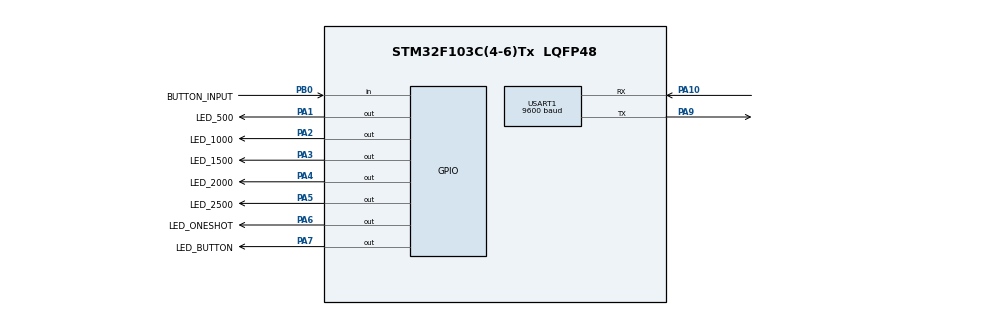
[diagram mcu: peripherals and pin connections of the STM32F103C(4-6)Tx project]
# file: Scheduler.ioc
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Mcu.Family=STM32F1
Mcu.Name=STM32F103C(4-6)Tx
Mcu.Package=LQFP48
NVIC.PriorityGroup=NVIC_PRIORITYGROUP_4
NVIC.TIM2_IRQn=true\:0\:0\:false\:false\:true\:true\:true
NVIC.USART1_IRQn=true\:0\:0\:false\:false\:true\:true\:true
PA1.GPIO_Label=LED_500
PA1.Signal=GPIO_Output
PA10.Mode=Asynchronous
PA10.Signal=USART1_RX
PA13.Mode=Serial_Wire
PA13.Signal=SYS_JTMS-SWDIO
PA14.Mode=Serial_Wire
PA14.Signal=SYS_JTCK-SWCLK
PA2.GPIO_Label=LED_1000
PA2.Signal=GPIO_Output
PA3.GPIO_Label=LED_1500
PA3.Signal=GPIO_Output
PA4.GPIO_Label=LED_2000
PA4.Signal=GPIO_Output
PA5.GPIO_Label=LED_2500
PA5.Signal=GPIO_Output
PA6.GPIO_Label=LED_ONESHOT
PA6.Signal=GPIO_Output
PA7.GPIO_Label=LED_BUTTON
PA7.Signal=GPIO_Output
PA9.Mode=Asynchronous
PA9.Signal=USART1_TX
PB0.GPIO_Label=BUTTON_INPUT
PB0.GPIO_PuPd=GPIO_PULLUP
PB0.Signal=GPIO_Input
ProjectManager.HeapSize=0x200
ProjectManager.StackSize=0x400
ProjectManager.TargetToolchain=STM32CubeIDE
RCC.APB1Freq_Value=8000000
RCC.APB2Freq_Value=8000000
TIM2.Period=2
TIM2.Prescaler=39999
USART1.BaudRate=9600
USART1.VirtualMode=VM_ASYNC
VP_TIM2_VS_ClockSourceINT.Mode=Internal
board=custom

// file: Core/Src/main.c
/* USER CODE BEGIN Header */
/**
  ******************************************************************************
  * @file           : main.c
  * @brief          : Main program body
  ******************************************************************************
  * @attention
  *
  * <h2><center>&copy; Copyright (c) 2023 STMicroelectronics.
  * All rights reserved.</center></h2>
  *
  * This software component is licensed by ST under BSD 3-Clause license,
  * the "License"; You may not use this file except in compliance with the
  * License. You may obtain a copy of the License at:
  *                        opensource.org/licenses/BSD-3-Clause
  *
  ******************************************************************************
  */
/* USER CODE END Header */
#include "main.h"

/* USER CODE BEGIN Includes */

#include "scheduler.h"
/* USER CODE END Includes */

TIM_HandleTypeDef htim2;

UART_HandleTypeDef huart1;

void SystemClock_Config(void);
static void MX_GPIO_Init(void);
static void MX_TIM2_Init(void);
static void MX_USART1_UART_Init(void);
/* USER CODE BEGIN PFP */
#ifdef __GNUC__
#define PUTCHAR_PROTOTYPE int __io_putchar(int ch)
#else
#define PUTCHAR_PROTOTYPE int fputc(int ch, FILE *f)
#endif

PUTCHAR_PROTOTYPE
{
  HAL_UART_Transmit(&huart1, (uint8_t *)&ch, 1, HAL_MAX_DELAY);
  return ch;
}
/* USER CODE END PFP */

int main(void)
{

  /* MCU Configuration--------------------------------------------------------*/

  /* Reset of all peripherals, Initializes the Flash interface and the Systick. */
  HAL_Init();

  /* Configure the system clock */
  SystemClock_Config();

  /* Initialize all configured peripherals */
  MX_GPIO_Init();
  MX_TIM2_Init();
  MX_USART1_UART_Init();
  /* USER CODE BEGIN 2 */
  SCH_Init_Task();

  /* USER CODE END 2 */

  /* Infinite loop */
  /* USER CODE BEGIN WHILE */
  SCH_Add_Task(blinkLED500, 0, TIMER_LED_500_MS / DEFAULT_TIMER_MS);
  SCH_Add_Task(blinkLED1000, 0, TIMER_LED_1000_MS / DEFAULT_TIMER_MS);
  SCH_Add_Task(blinkLED1500, 0, TIMER_LED_1500_MS / DEFAULT_TIMER_MS);
  SCH_Add_Task(blinkLED2000, 0, TIMER_LED_2000_MS / DEFAULT_TIMER_MS);
  SCH_Add_Task(blinkLED2500, 0, TIMER_LED_2500_MS / DEFAULT_TIMER_MS);
  SCH_Add_Task(blinkLEDoneshot, TIMER_LED_ONESHOT_MS / DEFAULT_TIMER_MS, 0);
  SCH_Add_Task(blinkLEDButton, 0, DEFAULT_TIMER_MS / DEFAULT_TIMER_MS);

  while (1)
  {
    /* USER CODE END WHILE */

    /* USER CODE BEGIN 3 */
	  SCH_Dispatch_Task();
  }
  /* USER CODE END 3 */
}

void SystemClock_Config(void)
{
  RCC_OscInitTypeDef RCC_OscInitStruct = {0};
  RCC_ClkInitTypeDef RCC_ClkInitStruct = {0};

  /** Initializes the RCC Oscillators according to the specified parameters
  * in the RCC_OscInitTypeDef structure.
  */
  RCC_OscInitStruct.OscillatorType = RCC_OSCILLATORTYPE_HSI;
  RCC_OscInitStruct.HSIState = RCC_HSI_ON;
  RCC_OscInitStruct.HSICalibrationValue = RCC_HSICALIBRATION_DEFAULT;
  RCC_OscInitStruct.PLL.PLLState = RCC_PLL_NONE;
  if (HAL_RCC_OscConfig(&RCC_OscInitStruct) != HAL_OK)
  {
    Error_Handler();
  }
  /** Initializes the CPU, AHB and APB buses clocks
  */
  RCC_ClkInitStruct.ClockType = RCC_CLOCKTYPE_HCLK|RCC_CLOCKTYPE_SYSCLK
                              |RCC_CLOCKTYPE_PCLK1|RCC_CLOCKTYPE_PCLK2;
  RCC_ClkInitStruct.SYSCLKSource = RCC_SYSCLKSOURCE_HSI;
  RCC_ClkInitStruct.AHBCLKDivider = RCC_SYSCLK_DIV1;
  RCC_ClkInitStruct.APB1CLKDivider = RCC_HCLK_DIV1;
  RCC_ClkInitStruct.APB2CLKDivider = RCC_HCLK_DIV1;

  if (HAL_RCC_ClockConfig(&RCC_ClkInitStruct, FLASH_LATENCY_0) != HAL_OK)
  {
    Error_Handler();
  }
}

static void MX_TIM2_Init(void)
{

  TIM_ClockConfigTypeDef sClockSourceConfig = {0};
  TIM_MasterConfigTypeDef sMasterConfig = {0};

  htim2.Instance = TIM2;
  htim2.Init.Prescaler = 39999;
  htim2.Init.CounterMode = TIM_COUNTERMODE_UP;
  htim2.Init.Period = 2;
  htim2.Init.ClockDivision = TIM_CLOCKDIVISION_DIV1;
  htim2.Init.AutoReloadPreload = TIM_AUTORELOAD_PRELOAD_DISABLE;
  if (HAL_TIM_Base_Init(&htim2) != HAL_OK)
  {
    Error_Handler();
  }
  sClockSourceConfig.ClockSource = TIM_CLOCKSOURCE_INTERNAL;
  if (HAL_TIM_ConfigClockSource(&htim2, &sClockSourceConfig) != HAL_OK)
  {
    Error_Handler();
  }
  sMasterConfig.MasterOutputTrigger = TIM_TRGO_RESET;
  sMasterConfig.MasterSlaveMode = TIM_MASTERSLAVEMODE_DISABLE;
  if (HAL_TIMEx_MasterConfigSynchronization(&htim2, &sMasterConfig) != HAL_OK)
  {
    Error_Handler();
  }

}

static void MX_USART1_UART_Init(void)
{

  huart1.Instance = USART1;
  huart1.Init.BaudRate = 9600;
  huart1.Init.WordLength = UART_WORDLENGTH_8B;
  huart1.Init.StopBits = UART_STOPBITS_1;
  huart1.Init.Parity = UART_PARITY_NONE;
  huart1.Init.Mode = UART_MODE_TX_RX;
  huart1.Init.HwFlowCtl = UART_HWCONTROL_NONE;
  huart1.Init.OverSampling = UART_OVERSAMPLING_16;
  if (HAL_UART_Init(&huart1) != HAL_OK)
  {
    Error_Handler();
  }

}

static void MX_GPIO_Init(void)
{
  GPIO_InitTypeDef GPIO_InitStruct = {0};

  /* GPIO Ports Clock Enable */
  __HAL_RCC_GPIOA_CLK_ENABLE();
  __HAL_RCC_GPIOB_CLK_ENABLE();

  /*Configure GPIO pin Output Level */
  HAL_GPIO_WritePin(GPIOA, LED_500_Pin|LED_1000_Pin|LED_1500_Pin|LED_2000_Pin
                          |LED_2500_Pin|LED_ONESHOT_Pin|LED_BUTTON_Pin, GPIO_PIN_RESET);

  /*Configure GPIO pins : LED_500_Pin LED_1000_Pin LED_1500_Pin LED_2000_Pin
                           LED_2500_Pin LED_ONESHOT_Pin LED_BUTTON_Pin */
  GPIO_InitStruct.Pin = LED_500_Pin|LED_1000_Pin|LED_1500_Pin|LED_2000_Pin
                          |LED_2500_Pin|LED_ONESHOT_Pin|LED_BUTTON_Pin;
  GPIO_InitStruct.Mode = GPIO_MODE_OUTPUT_PP;
  GPIO_InitStruct.Pull = GPIO_NOPULL;
  GPIO_InitStruct.Speed = GPIO_SPEED_FREQ_LOW;
  HAL_GPIO_Init(GPIOA, &GPIO_InitStruct);

  /*Configure GPIO pin : BUTTON_INPUT_Pin */
  GPIO_InitStruct.Pin = BUTTON_INPUT_Pin;
  GPIO_InitStruct.Mode = GPIO_MODE_INPUT;
  GPIO_InitStruct.Pull = GPIO_PULLUP;
  HAL_GPIO_Init(BUTTON_INPUT_GPIO_Port, &GPIO_InitStruct);

}

/* USER CODE BEGIN 4 */
void HAL_TIM_PeriodElapsedCallback(TIM_HandleTypeDef *htim)
{
	SCH_Update_Task();
}
/* USER CODE END 4 */

void Error_Handler(void)
{
  __disable_irq();
  while (1)
  {
  }
}

/************************ (C) COPYRIGHT STMicroelectronics *****END OF FILE****/
